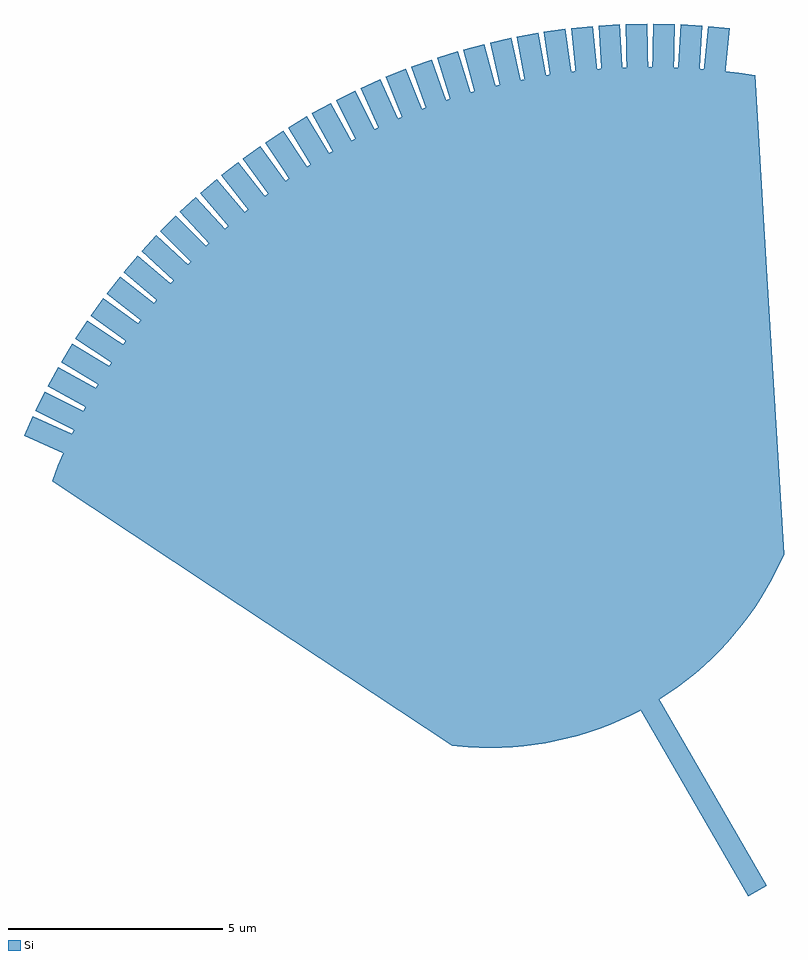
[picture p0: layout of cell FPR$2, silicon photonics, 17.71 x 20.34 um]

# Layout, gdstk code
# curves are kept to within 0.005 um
from math import pi, radians
import gdstk
lib = gdstk.Library(unit=1e-6, precision=1e-09)
def R(c, l, rs):  # rectangles x0, y0, x1, y1
    for r in rs: c.add(gdstk.rectangle(r[:2], r[2:], *l))
def P(c, l, *ps):  # polygons
    for p in ps: c.add(gdstk.Polygon(p, *l))
Si = (1, 0)

taper002_2 = lib.new_cell('taper002$2')
R(taper002_2, Si, [(-1,-0.25,2.5,0.25)])

boolean_2 = lib.new_cell('boolean$2')
P(boolean_2, Si, [(4.042,-9.461),(-5.95,-4.465),(-6.168,-4.16),(-6.309,-3.943),(-6.569,-3.493),(-6.797,-3.026),(-6.991,-2.545),(-7.076,-2.299),(-7.219,-1.8),(-7.327,-1.292),(-7.368,-1.035),(-7.422,-0.519),(-7.44,0),(-7.422,0.519),(-7.368,1.035),(-7.327,1.292),(-7.219,1.8),(-7.076,2.299),(-6.991,2.545),(-6.797,3.026),(-6.569,3.493),(-6.309,3.943),(-6.168,4.16),(-5.95,4.465),(4.042,9.461),(4.286,9.161),(4.598,8.746),(4.896,8.321),(5.179,7.885),(5.446,7.44),(5.698,6.986),(5.934,6.523),(6.154,6.052),(6.356,5.574),(6.543,5.089),(6.712,4.598),(6.864,4.101),(6.998,3.6),(7.115,3.094),(7.214,2.584),(7.295,2.071),(7.358,1.555),(7.404,1.038),(7.431,0.519),(7.44,0),(7.431,-0.519),(7.404,-1.038),(7.358,-1.555),(7.295,-2.071),(7.214,-2.584),(7.115,-3.094),(6.998,-3.6),(6.864,-4.101),(6.712,-4.598),(6.543,-5.089),(6.356,-5.574),(6.154,-6.052),(5.934,-6.523),(5.698,-6.986),(5.446,-7.44),(5.179,-7.885),(4.896,-8.321),(4.598,-8.746),(4.286,-9.161)])

taper_2 = lib.new_cell('taper$2')
R(taper_2, Si, [(-5,-0.25,2.5,0.25)])

fpr_2 = lib.new_cell('FPR$2')
fpr_2.add(gdstk.Reference(taper002_2, (-23.899,1.247), rotation=radians(328.8809), x_reflection=True))
fpr_2.add(gdstk.Reference(taper002_2, (-23.578,1.754), rotation=radians(326.5704), x_reflection=True))
fpr_2.add(gdstk.Reference(taper002_2, (-15.583,7.764), rotation=radians(287.2924), x_reflection=True))
fpr_2.add(gdstk.Reference(taper002_2, (-15.007,7.931), rotation=radians(284.9819), x_reflection=True))
fpr_2.add(gdstk.Reference(taper002_2, (-12.05,8.41), rotation=radians(273.4296), x_reflection=True))
fpr_2.add(gdstk.Reference(taper002_2, (-14.424,8.074), rotation=radians(282.6715), x_reflection=True))
fpr_2.add(gdstk.Reference(taper002_2, (-10.851,8.434), rotation=radians(268.8087), x_reflection=True))
fpr_2.add(gdstk.Reference(taper002_2, (-13.836,8.194), rotation=radians(280.361), x_reflection=True))
fpr_2.add(gdstk.Reference(taper002_2, (-16.713,7.362), rotation=radians(291.9134), x_reflection=True))
fpr_2.add(gdstk.Reference(taper002_2, (-13.244,8.29), rotation=radians(278.0505), x_reflection=True))
fpr_2.add(gdstk.Reference(boolean_2, (-14.88,0), rotation=radians(120)))
fpr_2.add(gdstk.Reference(taper002_2, (-24.734,-0.346), rotation=radians(335.8123), x_reflection=True))
fpr_2.add(gdstk.Reference(taper002_2, (-12.648,8.362), rotation=radians(275.7401), x_reflection=True))
fpr_2.add(gdstk.Reference(taper002_2, (-11.451,8.434), rotation=radians(271.1191), x_reflection=True))
fpr_2.add(gdstk.Reference(taper002_2, (-18.339,6.591), rotation=radians(298.8448), x_reflection=True))
fpr_2.add(gdstk.Reference(taper002_2, (-18.858,6.291), rotation=radians(301.1552), x_reflection=True))
fpr_2.add(gdstk.Reference(taper002_2, (-10.251,8.409), rotation=radians(266.4982), x_reflection=True))
fpr_2.add(gdstk.Reference(taper002_2, (-19.859,5.629), rotation=radians(305.7762), x_reflection=True))
fpr_2.add(gdstk.Reference(taper002_2, (-9.653,8.36), rotation=radians(264.1877), x_reflection=True))
fpr_2.add(gdstk.Reference(taper_2, (-11.16,-6.443), rotation=radians(120)))
fpr_2.add(gdstk.Reference(taper002_2, (-16.152,7.574), rotation=radians(289.6029), x_reflection=True))
fpr_2.add(gdstk.Reference(taper002_2, (-22.878,2.728), rotation=radians(321.9495), x_reflection=True))
fpr_2.add(gdstk.Reference(taper002_2, (-17.265,7.127), rotation=radians(294.2238), x_reflection=True))
fpr_2.add(gdstk.Reference(taper002_2, (-24.198,0.727), rotation=radians(331.1913), x_reflection=True))
fpr_2.add(gdstk.Reference(taper002_2, (-17.807,6.869), rotation=radians(296.5343), x_reflection=True))
fpr_2.add(gdstk.Reference(taper002_2, (-24.477,0.196), rotation=radians(333.5018), x_reflection=True))
fpr_2.add(gdstk.Reference(taper002_2, (-19.365,5.97), rotation=radians(303.4657), x_reflection=True))
fpr_2.add(gdstk.Reference(taper002_2, (-20.339,5.269), rotation=radians(308.0866), x_reflection=True))
fpr_2.add(gdstk.Reference(taper002_2, (-20.803,4.889), rotation=radians(310.3971), x_reflection=True))
fpr_2.add(gdstk.Reference(taper002_2, (-22.101,3.642), rotation=radians(317.3285), x_reflection=True))
fpr_2.add(gdstk.Reference(taper002_2, (-21.252,4.491), rotation=radians(312.7076), x_reflection=True))
fpr_2.add(gdstk.Reference(taper002_2, (-21.685,4.075), rotation=radians(315.0181), x_reflection=True))
fpr_2.add(gdstk.Reference(taper002_2, (-22.498,3.193), rotation=radians(319.639), x_reflection=True))
fpr_2.add(gdstk.Reference(taper002_2, (-23.238,2.248), rotation=radians(324.2599), x_reflection=True))

lib.write_gds('FPR_2.gds')
